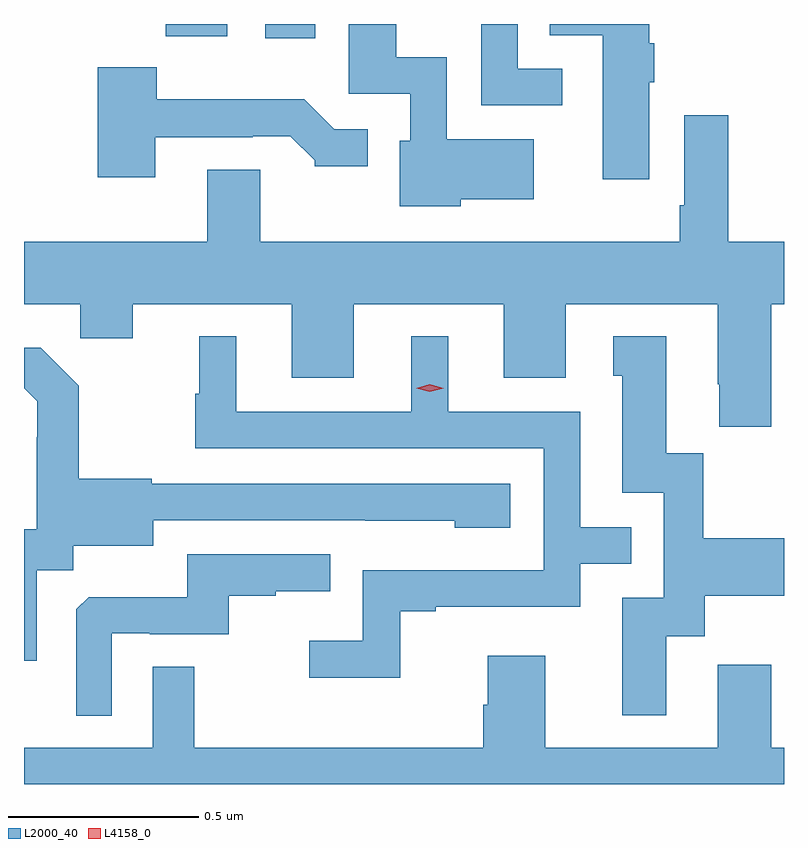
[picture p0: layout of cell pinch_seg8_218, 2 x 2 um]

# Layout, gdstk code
import gdstk
lib = gdstk.Library(unit=1e-6, precision=1e-09)
def R(c, l, rs):  # rectangles x0, y0, x1, y1
    for r in rs: c.add(gdstk.rectangle(r[:2], r[2:], *l))
def P(c, l, *ps):  # polygons
    for p in ps: c.add(gdstk.Polygon(p, *l))
L2000_40 = (2000, 40)
L4158_0 = (4158, 0)

pinch_seg8_218 = lib.new_cell('pinch_seg8_218')
R(pinch_seg8_218, L2000_40, [(663.974,1122.528,664.105,1122.565), (663.712,1122.533,663.874,1122.565)])
P(pinch_seg8_218, L2000_40, [(664.756,1122.447),(664.638,1122.447),(664.638,1122.565),(664.542,1122.565),(664.542,1122.351),(664.756,1122.351)],
  [(664.488,1122.104),(664.681,1122.104),(664.681,1122.262),(664.452,1122.262),(664.452,1122.478),(664.318,1122.478),(664.318,1122.565),(664.193,1122.565),(664.193,1122.381),(664.356,1122.381),(664.356,1122.258),(664.328,1122.258),(664.328,1122.086),(664.488,1122.086)],
  [(664.984,1122.412),(664.997,1122.412),(664.997,1122.515),(664.984,1122.515),(664.984,1122.565),(664.723,1122.565),(664.723,1122.536),(664.862,1122.536),(664.862,1122.156),(664.984,1122.156)],
  [(663.685,1122.267),(663.941,1122.267),(663.941,1122.27),(664.04,1122.27),(664.104,1122.206),(664.104,1122.191),(664.243,1122.191),(664.243,1122.288),(664.155,1122.288),(664.077,1122.367),(663.688,1122.367),(663.688,1122.451),(663.533,1122.451),(663.533,1122.162),(663.685,1122.162)],
  [(665.305,1121.828),(665.339,1121.828),(665.339,1121.992),(665.192,1121.992),(665.192,1122.325),(665.076,1122.325),(665.076,1122.088),(665.064,1122.088),(665.064,1121.992),(663.961,1121.992),(663.961,1122.182),(663.821,1122.182),(663.821,1121.992),(663.339,1121.992),(663.339,1121.828),(663.487,1121.828),(663.487,1121.738),(663.625,1121.738),(663.625,1121.828),(664.043,1121.828),(664.043,1121.634),(664.207,1121.634),(664.207,1121.828),(664.601,1121.828),(664.601,1121.634),(664.765,1121.634),(664.765,1121.828),(665.165,1121.828),(665.165,1121.617),(665.168,1121.617),(665.168,1121.505),(665.305,1121.505)],
  [(665.029,1120.954),(665.131,1120.954),(665.131,1121.06),(665.339,1121.06),(665.339,1121.212),(665.127,1121.212),(665.127,1121.435),(665.029,1121.435),(665.029,1121.743),(664.889,1121.743),(664.889,1121.64),(664.913,1121.64),(664.913,1121.331),(665.022,1121.331),(665.022,1121.055),(664.913,1121.055),(664.913,1120.746),(665.029,1120.746)],
  [(664.329,1121.019),(664.423,1121.019),(664.423,1121.031),(664.803,1121.031),(664.803,1121.145),(664.937,1121.145),(664.937,1121.241),(664.803,1121.241),(664.803,1121.544),(664.456,1121.544),(664.456,1121.743),(664.358,1121.743),(664.358,1121.544),(663.898,1121.544),(663.898,1121.743),(663.8,1121.743),(663.8,1121.592),(663.789,1121.592),(663.789,1121.448),(664.707,1121.448),(664.707,1121.127),(664.23,1121.127),(664.23,1120.942),(664.089,1120.942),(664.089,1120.844),(664.329,1120.844)],
  [(663.373,1121.128),(663.468,1121.128),(663.468,1121.192),(663.679,1121.192),(663.679,1121.259),(664.237,1121.259),(664.237,1121.258),(664.473,1121.258),(664.473,1121.24),(664.618,1121.24),(664.618,1121.355),(663.675,1121.355),(663.675,1121.368),(663.483,1121.368),(663.483,1121.613),(663.383,1121.713),(663.339,1121.713),(663.339,1121.607),(663.374,1121.572),(663.374,1121.477),(663.372,1121.477),(663.372,1121.236),(663.339,1121.236),(663.339,1120.89),(663.373,1120.89)],
  [(663.57,1120.962),(663.67,1120.962),(663.67,1120.959),(663.878,1120.959),(663.878,1121.061),(664.001,1121.061),(664.001,1121.072),(664.145,1121.072),(664.145,1121.169),(663.768,1121.169),(663.768,1121.057),(663.509,1121.057),(663.477,1121.025),(663.477,1120.745),(663.57,1120.745)],
  [(665.339,1120.66),(665.305,1120.66),(665.305,1120.879),(665.165,1120.879),(665.165,1120.66),(664.711,1120.66),(664.711,1120.903),(664.559,1120.903),(664.559,1120.773),(664.547,1120.773),(664.547,1120.66),(663.787,1120.66),(663.787,1120.874),(663.678,1120.874),(663.678,1120.66),(663.339,1120.66),(663.339,1120.565),(665.339,1120.565)])
P(pinch_seg8_218, L4158_0, [(664.407,1121.597),(664.371,1121.607),(664.371,1121.607),(664.371,1121.607),(664.407,1121.617),(664.443,1121.607),(664.443,1121.607),(664.443,1121.607)])

lib.write_gds('pinch_seg8_218.gds')
